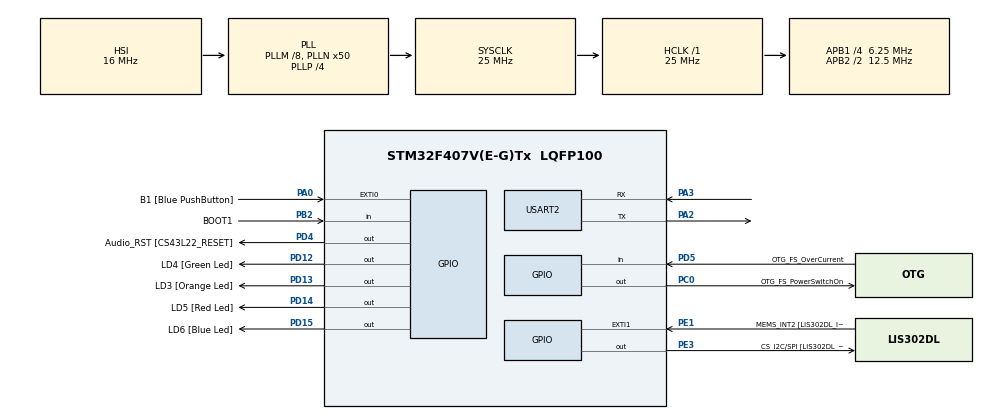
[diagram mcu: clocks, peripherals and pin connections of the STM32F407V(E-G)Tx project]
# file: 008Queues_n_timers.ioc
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Mcu.Family=STM32F4
Mcu.Name=STM32F407V(E-G)Tx
Mcu.Package=LQFP100
NVIC.PriorityGroup=NVIC_PRIORITYGROUP_4
NVIC.TIM6_DAC_IRQn=true\:15\:0\:false\:false\:true\:false\:true
NVIC.TimeBase=TIM6_DAC_IRQn
NVIC.TimeBaseIP=TIM6
NVIC.USART2_IRQn=true\:6\:0\:true\:false\:true\:true\:true
PA0-WKUP.GPIO_Label=B1 [Blue PushButton]
PA0-WKUP.Signal=GPXTI0
PA10.GPIO_Label=OTG_FS_ID
PA10.GPIO_Mode=GPIO_MODE_AF_PP
PA10.GPIO_PuPd=GPIO_NOPULL
PA10.GPIO_Speed=GPIO_SPEED_FREQ_LOW
PA10.Signal=USB_OTG_FS_ID
PA11.GPIO_Label=OTG_FS_DM
PA11.GPIO_Mode=GPIO_MODE_AF_PP
PA11.GPIO_PuPd=GPIO_NOPULL
PA11.GPIO_Speed=GPIO_SPEED_FREQ_LOW
PA11.Signal=USB_OTG_FS_DM
PA12.GPIO_Label=OTG_FS_DP
PA12.GPIO_Mode=GPIO_MODE_AF_PP
PA12.GPIO_PuPd=GPIO_NOPULL
PA12.GPIO_Speed=GPIO_SPEED_FREQ_LOW
PA12.Signal=USB_OTG_FS_DP
PA13.GPIO_Label=SWDIO
PA13.Signal=SYS_JTMS-SWDIO
PA14.GPIO_Label=SWCLK
PA14.Signal=SYS_JTCK-SWCLK
PA2.Mode=Asynchronous
PA2.Signal=USART2_TX
PA3.Mode=Asynchronous
PA3.Signal=USART2_RX
PA4.GPIO_Label=I2S3_WS [CS43L22_LRCK]
PA4.GPIO_Mode=GPIO_MODE_AF_PP
PA4.GPIO_PuPd=GPIO_NOPULL
PA4.GPIO_Speed=GPIO_SPEED_FREQ_LOW
PA4.Signal=I2S3_WS
PA5.GPIO_Label=SPI1_SCK [LIS302DL_SCL/SPC]
PA5.GPIO_Mode=GPIO_MODE_AF_PP
PA5.GPIO_PuPd=GPIO_NOPULL
PA5.GPIO_Speed=GPIO_SPEED_FREQ_LOW
PA5.Signal=SPI1_SCK
PA6.GPIO_Label=SPI1_MISO [LIS302DL_SDO]
PA6.GPIO_Mode=GPIO_MODE_AF_PP
PA6.GPIO_PuPd=GPIO_NOPULL
PA6.GPIO_Speed=GPIO_SPEED_FREQ_LOW
PA6.Signal=SPI1_MISO
PA7.GPIO_Label=SPI1_MOSI [LIS302DL_SDA/SDI/SDO]
PA7.GPIO_Mode=GPIO_MODE_AF_PP
PA7.GPIO_PuPd=GPIO_NOPULL
PA7.GPIO_Speed=GPIO_SPEED_FREQ_LOW
PA7.Signal=SPI1_MOSI
PA9.GPIO_Label=VBUS_FS
PA9.GPIO_Mode=GPIO_MODE_INPUT
PA9.GPIO_PuPd=GPIO_NOPULL
PA9.Signal=USB_OTG_FS_VBUS
PB10.GPIO_Label=CLK_IN [MP45DT02_CLK]
PB10.GPIO_Mode=GPIO_MODE_AF_PP
PB10.GPIO_PuPd=GPIO_NOPULL
PB10.GPIO_Speed=GPIO_SPEED_FREQ_LOW
PB10.Signal=I2S2_CK
PB2.GPIO_Label=BOOT1
PB2.GPIO_Mode=GPIO_MODE_INPUT
PB2.GPIO_PuPd=GPIO_NOPULL
PB2.Signal=GPIO_Input
PB3.GPIO_Label=SWO
PB3.Signal=SYS_JTDO-SWO
PB6.GPIO_Label=Audio_SCL [CS43L22_SCL]
PB6.GPIO_Mode=GPIO_MODE_AF_OD
PB6.GPIO_PuPd=GPIO_NOPULL
PB6.GPIO_Speed=GPIO_SPEED_FREQ_LOW
PB6.Signal=I2C1_SCL
PB9.GPIO_Label=Audio_SDA [CS43L22_SDA]
PB9.GPIO_Mode=GPIO_MODE_AF_OD
PB9.GPIO_PuPd=GPIO_NOPULL
PB9.GPIO_Speed=GPIO_SPEED_FREQ_LOW
PB9.Signal=I2C1_SDA
PC0.GPIO_Label=OTG_FS_PowerSwitchOn
PC0.GPIO_PuPd=GPIO_NOPULL
PC0.GPIO_Speed=GPIO_SPEED_FREQ_LOW
PC0.PinState=GPIO_PIN_SET
PC0.Signal=GPIO_Output
PC10.GPIO_Label=I2S3_SCK [CS43L22_SCLK]
PC10.GPIO_Mode=GPIO_MODE_AF_PP
PC10.GPIO_PuPd=GPIO_NOPULL
PC10.GPIO_Speed=GPIO_SPEED_FREQ_LOW
PC10.Signal=I2S3_CK
PC12.GPIO_Label=I2S3_SD [CS43L22_SDIN]
PC12.GPIO_Mode=GPIO_MODE_AF_PP
PC12.GPIO_PuPd=GPIO_NOPULL
PC12.GPIO_Speed=GPIO_SPEED_FREQ_LOW
PC12.Signal=I2S3_SD
PC14-OSC32_IN.GPIO_Label=PC14-OSC32_IN
PC14-OSC32_IN.Signal=RCC_OSC32_IN
PC15-OSC32_OUT.GPIO_Label=PC15-OSC32_OUT
PC15-OSC32_OUT.Signal=RCC_OSC32_OUT
PC3.GPIO_Label=PDM_OUT [MP45DT02_DOUT]
PC3.GPIO_Mode=GPIO_MODE_AF_PP
PC3.GPIO_PuPd=GPIO_NOPULL
PC3.GPIO_Speed=GPIO_SPEED_FREQ_LOW
PC3.Signal=I2S2_SD
PC7.GPIO_Label=I2S3_MCK [CS43L22_MCLK]
PC7.GPIO_Mode=GPIO_MODE_AF_PP
PC7.GPIO_PuPd=GPIO_NOPULL
PC7.GPIO_Speed=GPIO_SPEED_FREQ_LOW
PC7.Signal=I2S3_MCK
PD12.GPIO_Label=LD4 [Green Led]
PD12.GPIO_PuPd=GPIO_NOPULL
PD12.GPIO_Speed=GPIO_SPEED_FREQ_LOW
PD12.Signal=GPIO_Output
PD13.GPIO_Label=LD3 [Orange Led]
PD13.GPIO_PuPd=GPIO_NOPULL
PD13.GPIO_Speed=GPIO_SPEED_FREQ_LOW
PD13.Signal=GPIO_Output
PD14.GPIO_Label=LD5 [Red Led]
PD14.GPIO_PuPd=GPIO_NOPULL
PD14.GPIO_Speed=GPIO_SPEED_FREQ_LOW
PD14.Signal=GPIO_Output
PD15.GPIO_Label=LD6 [Blue Led]
PD15.GPIO_PuPd=GPIO_NOPULL
PD15.GPIO_Speed=GPIO_SPEED_FREQ_LOW
PD15.Signal=GPIO_Output
PD4.GPIO_Label=Audio_RST [CS43L22_RESET]
PD4.GPIO_PuPd=GPIO_NOPULL
PD4.GPIO_Speed=GPIO_SPEED_FREQ_LOW
PD4.Signal=GPIO_Output
PD5.GPIO_Label=OTG_FS_OverCurrent
PD5.GPIO_Mode=GPIO_MODE_INPUT
PD5.GPIO_PuPd=GPIO_NOPULL
PD5.Signal=GPIO_Input
PE1.GPIO_Label=MEMS_INT2 [LIS302DL_INT2]
PE1.GPIO_ModeDefaultEXTI=GPIO_MODE_EVT_RISING
PE1.GPIO_PuPd=GPIO_NOPULL
PE1.Signal=GPXTI1
PE3.GPIO_Label=CS_I2C/SPI [LIS302DL_CS_I2C/SPI]
PE3.GPIO_PuPd=GPIO_NOPULL
PE3.GPIO_Speed=GPIO_SPEED_FREQ_LOW
PE3.Signal=GPIO_Output
PH0-OSC_IN.GPIO_Label=PH0-OSC_IN
PH0-OSC_IN.Signal=RCC_OSC_IN
PH1-OSC_OUT.GPIO_Label=PH1-OSC_OUT
PH1-OSC_OUT.Signal=RCC_OSC_OUT
ProjectManager.HeapSize=0x200
ProjectManager.StackSize=0x400
ProjectManager.TargetToolchain=STM32CubeIDE
RCC.48MHZClocksFreq_Value=14285714.285714285
RCC.AHBFreq_Value=25000000
RCC.APB1CLKDivider=RCC_HCLK_DIV4
RCC.APB1Freq_Value=6250000
RCC.APB1TimFreq_Value=12500000
RCC.APB2CLKDivider=RCC_HCLK_DIV2
RCC.APB2Freq_Value=12500000
RCC.APB2TimFreq_Value=25000000
RCC.CortexFreq_Value=25000000
RCC.HCLKFreq_Value=25000000
RCC.HSE_VALUE=8000000
RCC.HSI_VALUE=16000000
RCC.LSE_VALUE=32768
RCC.PLLM=8
RCC.PLLN=50
RCC.PLLP=RCC_PLLP_DIV4
RCC.PLLQ=7
RCC.SYSCLKFreq_VALUE=25000000
RCC.SYSCLKSource=RCC_SYSCLKSOURCE_PLLCLK
RCC.VCOOutputFreq_Value=100000000
RTC.HourFormat=RTC_HOURFORMAT_12
USART2.VirtualMode=VM_ASYNC
VP_RTC_VS_RTC_Activate.Mode=RTC_Enabled
VP_SYS_VS_tim6.Mode=TIM6
board=STM32F407G-DISC1

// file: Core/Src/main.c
/* USER CODE BEGIN Header */
/**
  ******************************************************************************
  * @file           : main.c
  * @brief          : Main program body
  ******************************************************************************
  * @attention
  *
  * <h2><center>&copy; Copyright (c) 2022 STMicroelectronics.
  * All rights reserved.</center></h2>
  *
  * This software component is licensed by ST under BSD 3-Clause license,
  * the "License"; You may not use this file except in compliance with the
  * License. You may obtain a copy of the License at:
  *                        opensource.org/licenses/BSD-3-Clause
  *
  ******************************************************************************
  */
/* USER CODE END Header */
#include "main.h"

RTC_HandleTypeDef hrtc;

UART_HandleTypeDef huart2;

/* USER CODE BEGIN PV */
xTaskHandle handle_cmd_task;
xTaskHandle handle_menu_task;
xTaskHandle handle_print_task;
xTaskHandle handle_led_task;
xTaskHandle handle_rtc_task;

QueueHandle_t q_data;
QueueHandle_t q_print;

volatile uint8_t user_data;

// software timer handles
TimerHandle_t handle_led_timer[4];
TimerHandle_t rtc_timer;

//state variable
state_t curr_state = sMainMenu;

/* USER CODE END PV */

void SystemClock_Config(void);
static void MX_GPIO_Init(void);
static void MX_RTC_Init(void);
static void MX_USART2_UART_Init(void);
/* USER CODE BEGIN PFP */

void led_effect_callback(TimerHandle_t xTimer);
void rtc_report_callback( TimerHandle_t xTimer);

/* USER CODE END PFP */

int main(void)
{
  /* USER CODE BEGIN 1 */
	BaseType_t status;
  /* USER CODE END 1 */

  /* MCU Configuration--------------------------------------------------------*/

  /* Reset of all peripherals, Initializes the Flash interface and the Systick. */
  HAL_Init();

  /* Configure the system clock */
  SystemClock_Config();

  /* Initialize all configured peripherals */
  MX_GPIO_Init();
  MX_RTC_Init();
  MX_USART2_UART_Init();
  /* USER CODE BEGIN 2 */

  status = xTaskCreate(menu_task, "menu_task", 250, NULL, 2, &handle_menu_task);

  configASSERT(status == pdPASS);

  status = xTaskCreate(cmd_handler_task, "cmd_task", 250, NULL, 2, &handle_cmd_task);

  configASSERT(status == pdPASS);

  status = xTaskCreate(print_task, "print_task", 250, NULL, 2, &handle_print_task);

  configASSERT(status == pdPASS);

  status = xTaskCreate(led_task, "led_task", 250, NULL, 2, &handle_led_task);

  configASSERT(status == pdPASS);

  status = xTaskCreate(rtc_task, "rtc_task", 250, NULL, 2, &handle_rtc_task);

  configASSERT(status == pdPASS);

  q_data = xQueueCreate(10, sizeof(char));

  configASSERT(q_data != NULL);

  q_print = xQueueCreate(10, sizeof(size_t));

  configASSERT(q_print != NULL);

  // create software timers for LED effects

  for(int i = 0; i < 4; i++)
	  handle_led_timer[i] = xTimerCreate("led timer", pdMS_TO_TICKS(500), pdTRUE, (void*)(i+1), led_effect_callback);

  rtc_timer = xTimerCreate ("rtc_report_timer",pdMS_TO_TICKS(1000),pdTRUE,NULL,rtc_report_callback);

  HAL_UART_Receive_IT(&huart2, (uint8_t*)&user_data, 1);

  vTaskStartScheduler();

  /* USER CODE END 2 */

  /* Infinite loop */
  while (1)
  {

  }
}

void SystemClock_Config(void)
{
  RCC_OscInitTypeDef RCC_OscInitStruct = {0};
  RCC_ClkInitTypeDef RCC_ClkInitStruct = {0};

  /** Configure the main internal regulator output voltage
  */
  __HAL_RCC_PWR_CLK_ENABLE();
  __HAL_PWR_VOLTAGESCALING_CONFIG(PWR_REGULATOR_VOLTAGE_SCALE1);
  /** Initializes the RCC Oscillators according to the specified parameters
  * in the RCC_OscInitTypeDef structure.
  */
  RCC_OscInitStruct.OscillatorType = RCC_OSCILLATORTYPE_HSI|RCC_OSCILLATORTYPE_LSI;
  RCC_OscInitStruct.HSIState = RCC_HSI_ON;
  RCC_OscInitStruct.HSICalibrationValue = RCC_HSICALIBRATION_DEFAULT;
  RCC_OscInitStruct.LSIState = RCC_LSI_ON;
  RCC_OscInitStruct.PLL.PLLState = RCC_PLL_ON;
  RCC_OscInitStruct.PLL.PLLSource = RCC_PLLSOURCE_HSI;
  RCC_OscInitStruct.PLL.PLLM = 8;
  RCC_OscInitStruct.PLL.PLLN = 50;
  RCC_OscInitStruct.PLL.PLLP = RCC_PLLP_DIV4;
  RCC_OscInitStruct.PLL.PLLQ = 7;
  if (HAL_RCC_OscConfig(&RCC_OscInitStruct) != HAL_OK)
  {
    Error_Handler();
  }
  /** Initializes the CPU, AHB and APB buses clocks
  */
  RCC_ClkInitStruct.ClockType = RCC_CLOCKTYPE_HCLK|RCC_CLOCKTYPE_SYSCLK
                              |RCC_CLOCKTYPE_PCLK1|RCC_CLOCKTYPE_PCLK2;
  RCC_ClkInitStruct.SYSCLKSource = RCC_SYSCLKSOURCE_PLLCLK;
  RCC_ClkInitStruct.AHBCLKDivider = RCC_SYSCLK_DIV1;
  RCC_ClkInitStruct.APB1CLKDivider = RCC_HCLK_DIV4;
  RCC_ClkInitStruct.APB2CLKDivider = RCC_HCLK_DIV2;

  if (HAL_RCC_ClockConfig(&RCC_ClkInitStruct, FLASH_LATENCY_0) != HAL_OK)
  {
    Error_Handler();
  }
}

static void MX_RTC_Init(void)
{

  /** Initialize RTC Only
  */
  hrtc.Instance = RTC;
  hrtc.Init.HourFormat = RTC_HOURFORMAT_12;
  hrtc.Init.AsynchPrediv = 127;
  hrtc.Init.SynchPrediv = 255;
  hrtc.Init.OutPut = RTC_OUTPUT_DISABLE;
  hrtc.Init.OutPutPolarity = RTC_OUTPUT_POLARITY_HIGH;
  hrtc.Init.OutPutType = RTC_OUTPUT_TYPE_OPENDRAIN;
  if (HAL_RTC_Init(&hrtc) != HAL_OK)
  {
    Error_Handler();
  }

}

static void MX_USART2_UART_Init(void)
{

  huart2.Instance = USART2;
  huart2.Init.BaudRate = 115200;
  huart2.Init.WordLength = UART_WORDLENGTH_8B;
  huart2.Init.StopBits = UART_STOPBITS_1;
  huart2.Init.Parity = UART_PARITY_NONE;
  huart2.Init.Mode = UART_MODE_TX_RX;
  huart2.Init.HwFlowCtl = UART_HWCONTROL_NONE;
  huart2.Init.OverSampling = UART_OVERSAMPLING_16;
  if (HAL_UART_Init(&huart2) != HAL_OK)
  {
    Error_Handler();
  }

}

static void MX_GPIO_Init(void)
{
  GPIO_InitTypeDef GPIO_InitStruct = {0};

  /* GPIO Ports Clock Enable */
  __HAL_RCC_GPIOE_CLK_ENABLE();
  __HAL_RCC_GPIOC_CLK_ENABLE();
  __HAL_RCC_GPIOH_CLK_ENABLE();
  __HAL_RCC_GPIOA_CLK_ENABLE();
  __HAL_RCC_GPIOB_CLK_ENABLE();
  __HAL_RCC_GPIOD_CLK_ENABLE();

  /*Configure GPIO pin Output Level */
  HAL_GPIO_WritePin(CS_I2C_SPI_GPIO_Port, CS_I2C_SPI_Pin, GPIO_PIN_RESET);

  /*Configure GPIO pin Output Level */
  HAL_GPIO_WritePin(OTG_FS_PowerSwitchOn_GPIO_Port, OTG_FS_PowerSwitchOn_Pin, GPIO_PIN_SET);

  /*Configure GPIO pin Output Level */
  HAL_GPIO_WritePin(GPIOD, LD4_Pin|LD3_Pin|LD5_Pin|LD6_Pin
                          |Audio_RST_Pin, GPIO_PIN_RESET);

  /*Configure GPIO pin : CS_I2C_SPI_Pin */
  GPIO_InitStruct.Pin = CS_I2C_SPI_Pin;
  GPIO_InitStruct.Mode = GPIO_MODE_OUTPUT_PP;
  GPIO_InitStruct.Pull = GPIO_NOPULL;
  GPIO_InitStruct.Speed = GPIO_SPEED_FREQ_LOW;
  HAL_GPIO_Init(CS_I2C_SPI_GPIO_Port, &GPIO_InitStruct);

  /*Configure GPIO pin : OTG_FS_PowerSwitchOn_Pin */
  GPIO_InitStruct.Pin = OTG_FS_PowerSwitchOn_Pin;
  GPIO_InitStruct.Mode = GPIO_MODE_OUTPUT_PP;
  GPIO_InitStruct.Pull = GPIO_NOPULL;
  GPIO_InitStruct.Speed = GPIO_SPEED_FREQ_LOW;
  HAL_GPIO_Init(OTG_FS_PowerSwitchOn_GPIO_Port, &GPIO_InitStruct);

  /*Configure GPIO pin : PDM_OUT_Pin */
  GPIO_InitStruct.Pin = PDM_OUT_Pin;
  GPIO_InitStruct.Mode = GPIO_MODE_AF_PP;
  GPIO_InitStruct.Pull = GPIO_NOPULL;
  GPIO_InitStruct.Speed = GPIO_SPEED_FREQ_LOW;
  GPIO_InitStruct.Alternate = GPIO_AF5_SPI2;
  HAL_GPIO_Init(PDM_OUT_GPIO_Port, &GPIO_InitStruct);

  /*Configure GPIO pin : B1_Pin */
  GPIO_InitStruct.Pin = B1_Pin;
  GPIO_InitStruct.Mode = GPIO_MODE_IT_RISING;
  GPIO_InitStruct.Pull = GPIO_NOPULL;
  HAL_GPIO_Init(B1_GPIO_Port, &GPIO_InitStruct);

  /*Configure GPIO pin : I2S3_WS_Pin */
  GPIO_InitStruct.Pin = I2S3_WS_Pin;
  GPIO_InitStruct.Mode = GPIO_MODE_AF_PP;
  GPIO_InitStruct.Pull = GPIO_NOPULL;
  GPIO_InitStruct.Speed = GPIO_SPEED_FREQ_LOW;
  GPIO_InitStruct.Alternate = GPIO_AF6_SPI3;
  HAL_GPIO_Init(I2S3_WS_GPIO_Port, &GPIO_InitStruct);

  /*Configure GPIO pins : SPI1_SCK_Pin SPI1_MISO_Pin SPI1_MOSI_Pin */
  GPIO_InitStruct.Pin = SPI1_SCK_Pin|SPI1_MISO_Pin|SPI1_MOSI_Pin;
  GPIO_InitStruct.Mode = GPIO_MODE_AF_PP;
  GPIO_InitStruct.Pull = GPIO_NOPULL;
  GPIO_InitStruct.Speed = GPIO_SPEED_FREQ_LOW;
  GPIO_InitStruct.Alternate = GPIO_AF5_SPI1;
  HAL_GPIO_Init(GPIOA, &GPIO_InitStruct);

  /*Configure GPIO pin : BOOT1_Pin */
  GPIO_InitStruct.Pin = BOOT1_Pin;
  GPIO_InitStruct.Mode = GPIO_MODE_INPUT;
  GPIO_InitStruct.Pull = GPIO_NOPULL;
  HAL_GPIO_Init(BOOT1_GPIO_Port, &GPIO_InitStruct);

  /*Configure GPIO pin : CLK_IN_Pin */
  GPIO_InitStruct.Pin = CLK_IN_Pin;
  GPIO_InitStruct.Mode = GPIO_MODE_AF_PP;
  GPIO_InitStruct.Pull = GPIO_NOPULL;
  GPIO_InitStruct.Speed = GPIO_SPEED_FREQ_LOW;
  GPIO_InitStruct.Alternate = GPIO_AF5_SPI2;
  HAL_GPIO_Init(CLK_IN_GPIO_Port, &GPIO_InitStruct);

  /*Configure GPIO pins : LD4_Pin LD3_Pin LD5_Pin LD6_Pin
                           Audio_RST_Pin */
  GPIO_InitStruct.Pin = LD4_Pin|LD3_Pin|LD5_Pin|LD6_Pin
                          |Audio_RST_Pin;
  GPIO_InitStruct.Mode = GPIO_MODE_OUTPUT_PP;
  GPIO_InitStruct.Pull = GPIO_NOPULL;
  GPIO_InitStruct.Speed = GPIO_SPEED_FREQ_LOW;
  HAL_GPIO_Init(GPIOD, &GPIO_InitStruct);

  /*Configure GPIO pins : I2S3_MCK_Pin I2S3_SCK_Pin I2S3_SD_Pin */
  GPIO_InitStruct.Pin = I2S3_MCK_Pin|I2S3_SCK_Pin|I2S3_SD_Pin;
  GPIO_InitStruct.Mode = GPIO_MODE_AF_PP;
  GPIO_InitStruct.Pull = GPIO_NOPULL;
  GPIO_InitStruct.Speed = GPIO_SPEED_FREQ_LOW;
  GPIO_InitStruct.Alternate = GPIO_AF6_SPI3;
  HAL_GPIO_Init(GPIOC, &GPIO_InitStruct);

  /*Configure GPIO pin : VBUS_FS_Pin */
  GPIO_InitStruct.Pin = VBUS_FS_Pin;
  GPIO_InitStruct.Mode = GPIO_MODE_INPUT;
  GPIO_InitStruct.Pull = GPIO_NOPULL;
  HAL_GPIO_Init(VBUS_FS_GPIO_Port, &GPIO_InitStruct);

  /*Configure GPIO pins : OTG_FS_ID_Pin OTG_FS_DM_Pin OTG_FS_DP_Pin */
  GPIO_InitStruct.Pin = OTG_FS_ID_Pin|OTG_FS_DM_Pin|OTG_FS_DP_Pin;
  GPIO_InitStruct.Mode = GPIO_MODE_AF_PP;
  GPIO_InitStruct.Pull = GPIO_NOPULL;
  GPIO_InitStruct.Speed = GPIO_SPEED_FREQ_LOW;
  GPIO_InitStruct.Alternate = GPIO_AF10_OTG_FS;
  HAL_GPIO_Init(GPIOA, &GPIO_InitStruct);

  /*Configure GPIO pin : OTG_FS_OverCurrent_Pin */
  GPIO_InitStruct.Pin = OTG_FS_OverCurrent_Pin;
  GPIO_InitStruct.Mode = GPIO_MODE_INPUT;
  GPIO_InitStruct.Pull = GPIO_NOPULL;
  HAL_GPIO_Init(OTG_FS_OverCurrent_GPIO_Port, &GPIO_InitStruct);

  /*Configure GPIO pins : Audio_SCL_Pin Audio_SDA_Pin */
  GPIO_InitStruct.Pin = Audio_SCL_Pin|Audio_SDA_Pin;
  GPIO_InitStruct.Mode = GPIO_MODE_AF_OD;
  GPIO_InitStruct.Pull = GPIO_NOPULL;
  GPIO_InitStruct.Speed = GPIO_SPEED_FREQ_LOW;
  GPIO_InitStruct.Alternate = GPIO_AF4_I2C1;
  HAL_GPIO_Init(GPIOB, &GPIO_InitStruct);

  /*Configure GPIO pin : MEMS_INT2_Pin */
  GPIO_InitStruct.Pin = MEMS_INT2_Pin;
  GPIO_InitStruct.Mode = GPIO_MODE_EVT_RISING;
  GPIO_InitStruct.Pull = GPIO_NOPULL;
  HAL_GPIO_Init(MEMS_INT2_GPIO_Port, &GPIO_InitStruct);

}

/* USER CODE BEGIN 4 */

void rtc_report_callback( TimerHandle_t xTimer )
{
	 show_time_date_itm();

}

void led_effect_callback(TimerHandle_t xTimer)
{
	int id;
	id = (uint32_t) pvTimerGetTimerID(xTimer);

	switch(id)
	{
		case 1:
			LED_effect1();
			break;
		case 2:
			LED_effect2();
			break;
		case 3:
			LED_effect3();
			break;
		case 4:
			LED_effect4();
			break;
	}
}

void HAL_UART_RxCpltCallback(UART_HandleTypeDef *huart)
{
	if(xQueueIsQueueFullFromISR(q_data) == pdFALSE)
	{
		/*Queue is not full */

		/*TODO: Enqueue data byte */
		xQueueSendFromISR(q_data, (void*)&user_data, NULL);

	}else{
		/*Queue is full */

		if(user_data == '\n')
		{
			/*user_data = '\n' */

			/*TODO: make sure that last data byte of the queue is '\n' */
			xQueueOverwriteFromISR(q_data, (void*)&user_data, NULL);
		}
	}

	/*TODO: send notification to command handling task if user_data = '\n' */
	if(user_data == '\n')
		xTaskNotifyFromISR(handle_cmd_task, 0, eNoAction, NULL);

	/* TODO: Enable UART data byte reception again in IT mode */
	HAL_UART_Receive_IT(&huart2, (uint8_t*)&user_data, 1);

}

/* USER CODE END 4 */

void HAL_TIM_PeriodElapsedCallback(TIM_HandleTypeDef *htim)
{
  if (htim->Instance == TIM6) {
    HAL_IncTick();
  }
}

void Error_Handler(void)
{
  __disable_irq();
  while (1)
  {
  }
}

/************************ (C) COPYRIGHT STMicroelectronics *****END OF FILE****/
